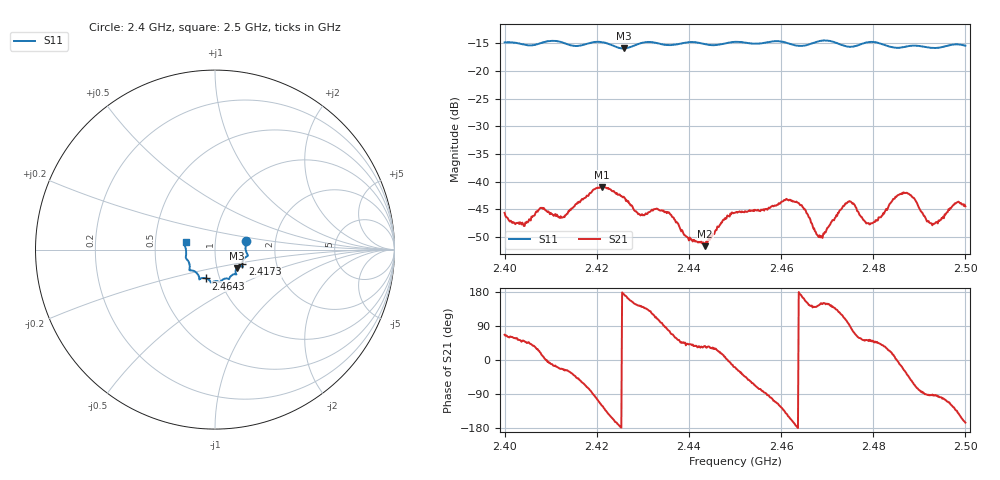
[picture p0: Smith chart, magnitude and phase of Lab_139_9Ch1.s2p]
# Hz S RI R 50
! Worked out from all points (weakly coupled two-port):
!   601 points, 2.4 GHz to 2.5 GHz, reference 50 ohm
!   highest |S21| = -40.96 dB at 2.4212 GHz (marker M1); lowest = -51.6 dB at 2.4435 GHz (marker M2)
!   lowest |S11| = -15.9 dB at 2.4258 GHz (marker M3), VSWR 1.38, Z = 62.2 - j13.3 ohm
!   |S11| at or under -10 dB: start of sweep to end of sweep
!   S12 and S22 are empty: the file has one direction only
!   S11 on the Smith chart (normalised r, x): 2.4 GHz: 1.41, +0.14; 2.4173 GHz: 1.34, -0.23; 2.4643 GHz: 0.86, -0.28; 2.5 GHz: 0.72, +0.06
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2.4e9  0.1738 0.0491  0.0021 0.00481  0 0  0 0
2.404e9  0.1716 0.0248  0.00258 0.00325  0 0  0 0
2.408e9  0.1777 -0.0212  0.00563 0.0014  0 0  0 0
2.4125e9  0.1769 -0.0381  0.00436 -0.0019  0 0  0 0
2.416667e9  0.1529 -0.0746  0.00367 -0.00579  0 0  0 0
2.417333e9  0.1524 -0.0822  0.00305 -0.00645  0 0  0 0
2.421167e9  0.1543 -0.0964  -0.00461 -0.00767  0 0  0 0
2.425833e9  0.121 -0.1039  -0.00729 0.000777  0 0  0 0
2.4295e9  0.1168 -0.1341  -0.00389 0.0031  0 0  0 0
2.433333e9  0.1127 -0.1365  -0.00159 0.0054  0 0  0 0
2.4435e9  0.0663 -0.1608  0.0021 0.00157  0 0  0 0
2.45e9  0.0293 -0.1807  0.00497 -0.00171  0 0  0 0
2.464333e9  -0.0503 -0.1604  -0.0061 0.000906  0 0  0 0
2.466667e9  -0.0763 -0.1596  -0.0034 0.0025  0 0  0 0
2.4685e9  -0.0866 -0.1653  -0.00266 0.00169  0 0  0 0
2.4745e9  -0.1017 -0.1307  -0.000912 0.00653  0 0  0 0
2.479e9  -0.1406 -0.1155  0.00273 0.00325  0 0  0 0
2.483333e9  -0.1406 -0.0896  0.00544 0.00259  0 0  0 0
2.4875e9  -0.1581 -0.0535  0.00595 -0.00511  0 0  0 0
2.492833e9  -0.1604 -0.0157  -8.01e-05 -0.00405  0 0  0 0
2.498e9  -0.1708 0.0314  -0.00441 -0.0047  0 0  0 0
2.5e9  -0.1637 0.0415  -0.0058 -0.00152  0 0  0 0
